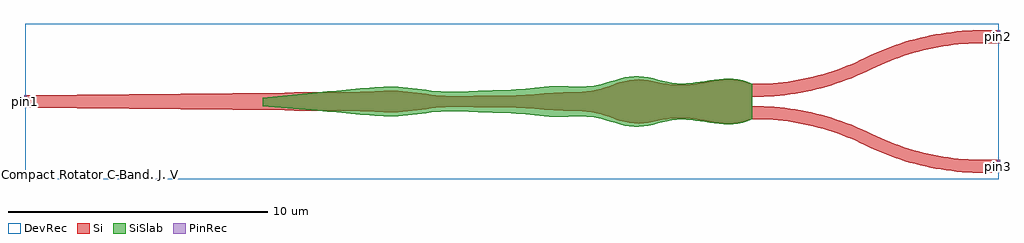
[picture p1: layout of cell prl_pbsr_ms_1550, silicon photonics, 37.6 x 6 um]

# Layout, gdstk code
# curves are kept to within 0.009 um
import gdstk
lib = gdstk.Library(unit=1e-6, precision=1e-09)
def R(c, l, rs):  # rectangles x0, y0, x1, y1
    for r in rs: c.add(gdstk.rectangle(r[:2], r[2:], *l))
def P(c, l, *ps):  # polygons
    for p in ps: c.add(gdstk.Polygon(p, *l))
Si = (1, 0)
PinRec = (1, 10)
SiSlab = (2, 0)
DevRec = (68, 0)

prl_pbsr_ms_1550 = lib.new_cell('prl_pbsr_ms_1550')
P(prl_pbsr_ms_1550, Si, [(-8.75,-0.33),(-18.75,-0.25),(-18.75,0.25),(-8.75,0.33)],
  [(9.2,0.175),(9.2,0.675),(9.874,0.693),(10.456,0.745),(11.034,0.832),(11.794,1.002),(12.354,1.169),(12.903,1.369),(13.262,1.521),(13.984,1.861),(14.553,2.094),(14.939,2.231),(15.527,2.406),(16.327,2.585),(17.138,2.699),(17.751,2.742),(18.75,2.75),(18.75,2.25),(17.965,2.248),(17.382,2.219),(16.608,2.126),(16.034,2.015),(15.468,1.871),(14.912,1.693),(14.367,1.482),(13.466,1.064),(13.088,0.905),(12.511,0.694),(11.923,0.519),(11.123,0.34),(10.516,0.249),(9.904,0.193)],
  [(18.16,-2.75),(17.546,-2.732),(16.731,-2.65),(16.126,-2.546),(15.527,-2.406),(14.939,-2.231),(14.362,-2.02),(13.984,-1.861),(13.083,-1.443),(12.538,-1.232),(11.982,-1.054),(11.416,-0.91),(10.842,-0.799),(10.262,-0.724),(9.68,-0.683),(9.2,-0.675),(9.2,-0.175),(9.904,-0.193),(10.516,-0.249),(11.123,-0.34),(11.923,-0.519),(12.511,-0.694),(13.088,-0.905),(13.466,-1.064),(14.367,-1.482),(14.912,-1.693),(15.468,-1.871),(16.034,-2.015),(16.608,-2.126),(17.382,-2.219),(17.965,-2.248),(18.75,-2.25),(18.75,-2.75)],
  [(8.341,-0.857),(7.977,-0.833),(6.886,-0.665),(6.523,-0.636),(6.341,-0.636),(5.977,-0.675),(5.068,-0.839),(4.705,-0.845),(4.341,-0.782),(3.25,-0.451),(2.886,-0.39),(2.523,-0.362),(1.614,-0.336),(-0.023,-0.226),(-2.023,-0.203),(-2.568,-0.214),(-2.932,-0.243),(-4.023,-0.383),(-4.568,-0.412),(-6.204,-0.359),(-7.841,-0.36),(-8.75,-0.33),(-8.75,0.33),(-7.841,0.36),(-6.204,0.359),(-4.568,0.412),(-4.023,0.383),(-2.932,0.243),(-2.568,0.214),(-2.023,0.203),(-0.023,0.226),(1.614,0.336),(2.523,0.362),(2.886,0.39),(3.25,0.451),(4.341,0.782),(4.705,0.845),(5.068,0.839),(5.977,0.675),(6.341,0.636),(6.523,0.636),(6.886,0.665),(7.977,0.833),(8.341,0.857),(8.523,0.853),(8.886,0.8),(9.068,0.748),(9.25,0.675),(9.25,-0.675),(9.068,-0.748),(8.886,-0.8),(8.705,-0.834)])
P(prl_pbsr_ms_1550, SiSlab, [(4.705,-0.982),(4.341,-0.928),(3.614,-0.715),(3.25,-0.624),(2.886,-0.58),(1.614,-0.587),(-0.023,-0.452),(-2.204,-0.376),(-2.932,-0.404),(-3.841,-0.514),(-4.386,-0.559),(-4.932,-0.561),(-5.659,-0.517),(-9.6,-0.175),(-9.6,0.142),(-7.477,0.362),(-5.659,0.517),(-4.932,0.561),(-4.204,0.549),(-2.932,0.404),(-2.204,0.376),(-0.023,0.452),(1.614,0.587),(2.886,0.58),(3.25,0.624),(3.614,0.715),(4.341,0.928),(4.705,0.982),(5.068,0.963),(6.159,0.721),(6.523,0.693),(6.886,0.712),(7.977,0.859),(8.341,0.877),(8.523,0.869),(8.886,0.81),(9.068,0.753),(9.25,0.675),(9.25,-0.675),(9.068,-0.753),(8.886,-0.81),(8.705,-0.848),(8.341,-0.877),(7.796,-0.839),(6.886,-0.712),(6.523,-0.693),(6.341,-0.7),(5.977,-0.755),(5.432,-0.89),(5.068,-0.963)])
R(prl_pbsr_ms_1550, DevRec, [(-18.75,-3,18.75,3)])
prl_pbsr_ms_1550.add(gdstk.FlexPath([(18.7,2.5),(18.8,2.5)], 0.5, ends="flush", simple_path=True, layer=1, datatype=10))  # PinRec
prl_pbsr_ms_1550.add(gdstk.FlexPath([(18.7,-2.5),(18.8,-2.5)], 0.5, ends="flush", simple_path=True, layer=1, datatype=10))  # PinRec
prl_pbsr_ms_1550.add(gdstk.FlexPath([(-18.7,0),(-18.8,0)], 0.5, ends="flush", simple_path=True, layer=1, datatype=10))  # PinRec
prl_pbsr_ms_1550.add(gdstk.Label('pin2', (18.75,2.5), layer=1, texttype=10))
prl_pbsr_ms_1550.add(gdstk.Label('pin3', (18.75,-2.5), layer=1, texttype=10))
prl_pbsr_ms_1550.add(gdstk.Label('pin1', (-18.75,0), layer=1, texttype=10))
prl_pbsr_ms_1550.add(gdstk.Label('Compact Rotator C-Band. J. Villegas 2022', (-18.59,-2.82), layer=10, texttype=0))

lib.write_gds('prl_pbsr_ms_1550.gds')
